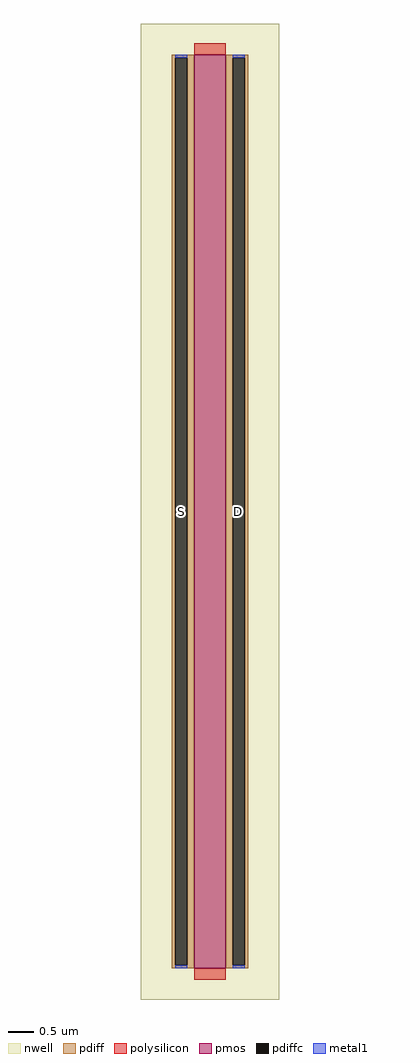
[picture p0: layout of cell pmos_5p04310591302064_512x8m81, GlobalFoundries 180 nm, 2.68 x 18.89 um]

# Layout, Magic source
magic
tech gf180mcuD
magscale 1 10
<< nwell >>
rect -208 -120 328 3658
<< pmos >>
rect 0 0 120 3538
<< pdiff >>
rect -88 3525 0 3538
rect -88 13 -75 3525
rect -29 13 0 3525
rect -88 0 0 13
rect 120 3525 208 3538
rect 120 13 149 3525
rect 195 13 208 3525
rect 120 0 208 13
<< pdiffc >>
rect -75 13 -29 3525
rect 149 13 195 3525
<< polysilicon >>
rect 0 3538 120 3582
rect 0 -44 120 0
<< metal1 >>
rect -75 3525 -29 3538
rect -75 0 -29 13
rect 149 3525 195 3538
rect 149 0 195 13
<< labels >>
flabel pdiffc -52 1769 -52 1769 0 FreeSans 400 0 0 0 S
flabel pdiffc 172 1769 172 1769 0 FreeSans 400 0 0 0 D
<< end >>
